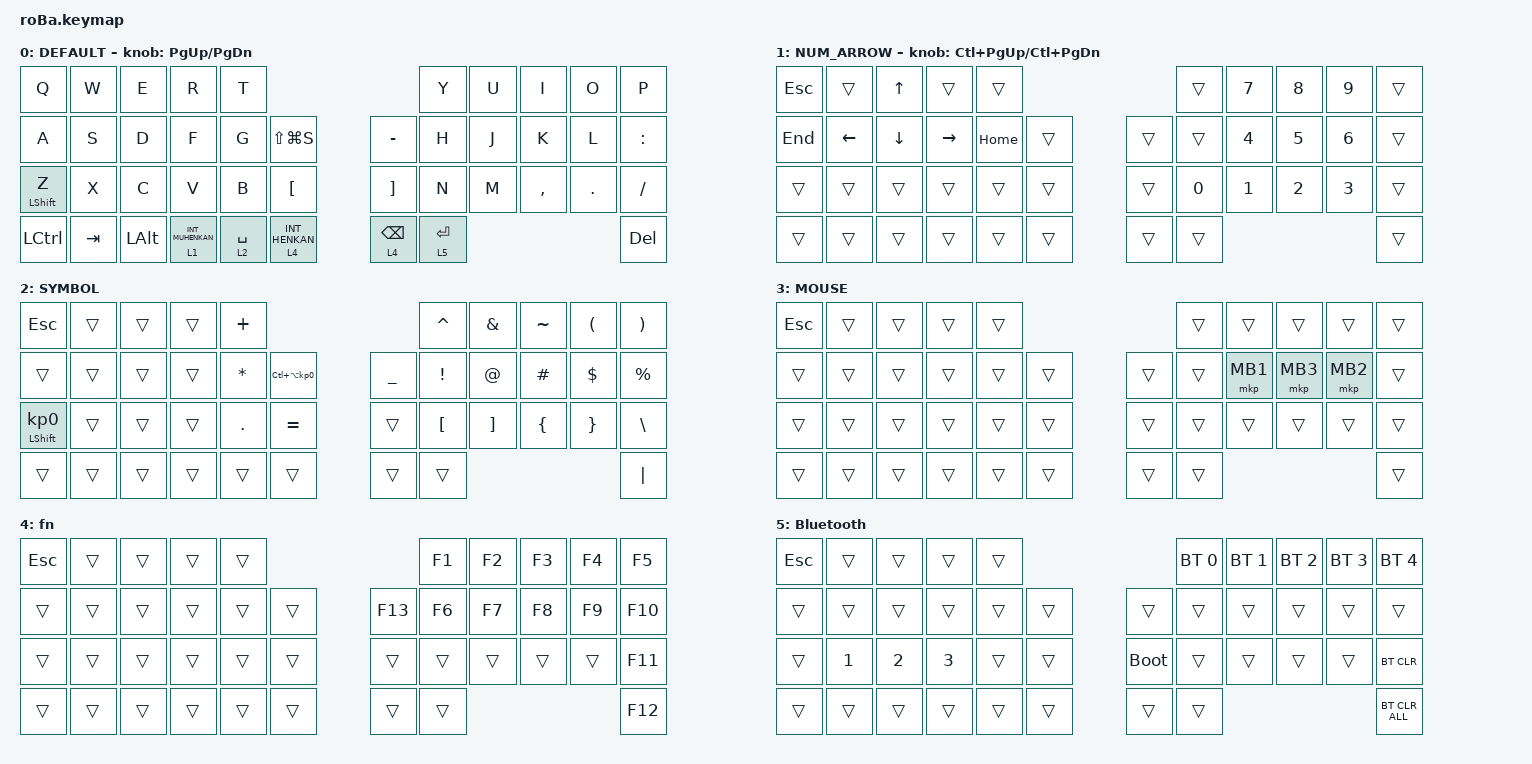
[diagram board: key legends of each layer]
#include <behaviors.dtsi>
#include <dt-bindings/zmk/bt.h>
#include <dt-bindings/zmk/keys.h>
#include <dt-bindings/zmk/pointing.h>

#define MOUSE 3
#define SCROLL 5
#define NUM 6

&mt {
    flavor = "balanced";
    quick-tap-ms = <0>;
};

/ {
    combos {
        compatible = "zmk,combos";

        tab {
            bindings = <&kp TAB>;
            key-positions = <11 12>;
        };

        shift_tab {
            bindings = <&kp LS(TAB)>;
            key-positions = <12 13>;
        };

        muhennkann {
            bindings = <&to_layer_0 INT_MUHENKAN>;
            key-positions = <11 10>;
        };

        double_quotation {
            bindings = <&kp DOUBLE_QUOTES>;
            key-positions = <20 21>;
        };

        eq {
            bindings = <&kp EQUAL>;
            key-positions = <24 25>;
        };
    };

    macros {
        to_layer_0: to_layer_0 {
            compatible = "zmk,behavior-macro-one-param";
            #binding-cells = <1>;
            bindings = <&to 0 &macro_param_1to1 &kp MACRO_PLACEHOLDER>;
            label = "TO_LAYER_0";
        };
    };

    behaviors {
        lt_to_layer_0: lt_to_layer_0 {
            compatible = "zmk,behavior-hold-tap";
            label = "LAYER_TAP_TO_0";
            bindings = <&mo>, <&to_layer_0>;

            #binding-cells = <2>;
            tapping-term-ms = <200>;
        };
    };

    keymap {
        compatible = "zmk,keymap";

        DEFAULT {
            bindings = <
&kp Q             &kp W    &kp E         &kp R                          &kp T                                                          &kp Y        &kp U  &kp I      &kp O    &kp P
&kp A             &kp S    &kp D         &kp F                          &kp G        &kp LS(LG(S))                    &kp MINUS        &kp H        &kp J  &kp K      &kp L    &kp COLON
&mt LEFT_SHIFT Z  &kp X    &kp C         &kp V                          &kp B        &kp LBKT                         &kp RBKT         &kp N        &kp M  &kp COMMA  &kp DOT  &kp SLASH
&kp LCTRL         &kp TAB  &kp LEFT_ALT  &lt_to_layer_0 1 INT_MUHENKAN  &lt 2 SPACE  &lt_to_layer_0 4 INT_HENKAN      &lt 4 BACKSPACE  &lt 5 ENTER                             &kp DEL
            >;

            sensor-bindings = <&inc_dec_kp PG_UP PAGE_DOWN>;
        };

        NUM_ARROW {
            bindings = <
&kp ESC  &trans    &kp UP    &trans     &trans                        &trans  &kp N7  &kp N8  &kp N9  &trans
&kp END  &kp LEFT  &kp DOWN  &kp RIGHT  &kp HOME  &trans      &trans  &trans  &kp N4  &kp N5  &kp N6  &trans
&trans   &trans    &trans    &trans     &trans    &trans      &trans  &kp N0  &kp N1  &kp N2  &kp N3  &trans
&trans   &trans    &trans    &trans     &trans    &trans      &trans  &trans                          &trans
            >;

            sensor-bindings = <&inc_dec_kp LC(PAGE_UP) LC(PAGE_DOWN)>;
        };

        SYMBOL {
            bindings = <
&kp ESC                     &trans  &trans  &trans  &kp PLUS                                                   &kp CARET         &kp AMPERSAND      &kp TILDE       &kp LEFT_PARENTHESIS  &kp RIGHT_PARENTHESIS
&trans                      &trans  &trans  &trans  &kp ASTERISK  &kp LC(LA(KP_NUMBER_0))      &kp UNDERSCORE  &kp EXCLAMATION   &kp AT_SIGN        &kp HASH        &kp DOLLAR            &kp PERCENT
&mt LEFT_SHIFT KP_NUMBER_0  &trans  &trans  &trans  &kp PERIOD    &kp EQUAL                    &trans          &kp LEFT_BRACKET  &kp RIGHT_BRACKET  &kp LEFT_BRACE  &kp RIGHT_BRACE       &kp BACKSLASH
&trans                      &trans  &trans  &trans  &trans        &trans                       &trans          &trans                                                                     &kp PIPE
            >;
        };

        MOUSE {
            bindings = <
&kp ESC  &trans  &trans  &trans  &trans                      &trans  &trans    &trans    &trans    &trans
&trans   &trans  &trans  &trans  &trans  &trans      &trans  &trans  &mkp MB1  &mkp MB3  &mkp MB2  &trans
&trans   &trans  &trans  &trans  &trans  &trans      &trans  &trans  &trans    &trans    &trans    &trans
&trans   &trans  &trans  &trans  &trans  &trans      &trans  &trans                                &trans
            >;
        };

        fn {
            bindings = <
&kp ESC  &trans  &trans  &trans  &trans                       &kp F1  &kp F2  &kp F3  &kp F4  &kp F5
&trans   &trans  &trans  &trans  &trans  &trans      &kp F13  &kp F6  &kp F7  &kp F8  &kp F9  &kp F10
&trans   &trans  &trans  &trans  &trans  &trans      &trans   &trans  &trans  &trans  &trans  &kp F11
&trans   &trans  &trans  &trans  &trans  &trans      &trans   &trans                          &kp F12
            >;
        };

        Bluetooth {
            bindings = <
&kp ESC  &trans        &trans        &trans        &trans                           &bt BT_SEL 0  &bt BT_SEL 1  &bt BT_SEL 2  &bt BT_SEL 3  &bt BT_SEL 4
&trans   &trans        &trans        &trans        &trans  &trans      &trans       &trans        &trans        &trans        &trans        &trans
&trans   &kp NUMBER_1  &kp NUMBER_2  &kp NUMBER_3  &trans  &trans      &bootloader  &trans        &trans        &trans        &trans        &bt BT_CLR
&trans   &trans        &trans        &trans        &trans  &trans      &trans       &trans                                                  &bt BT_CLR_ALL
            >;
        };
    };
};
